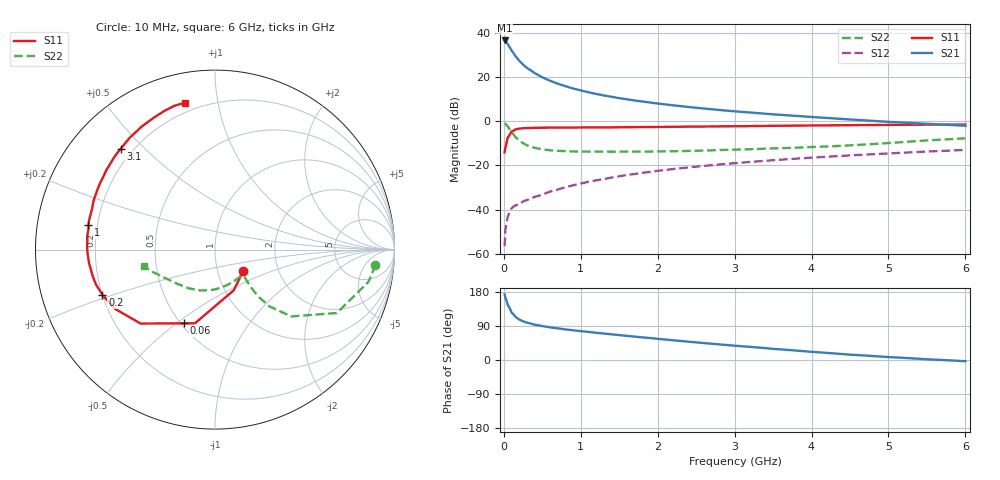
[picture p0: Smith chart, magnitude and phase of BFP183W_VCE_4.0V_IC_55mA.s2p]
! Infineon Technologies  Discrete & RF Semiconductors
! BFP183W
! VCE =  4.0 V,  IC =  55 mA
! Common Emitter S-Parameters:  Jan 2017
# GHz  S  MA  R  50
!  f  S11  S21  S12  S22
! GHz  MAG  ANG  MAG  ANG  MAG  ANG  MAG  ANG
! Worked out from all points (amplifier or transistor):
!   77 points, 10 MHz to 6 GHz, reference 50 ohm
!   highest |S21| = 36.4 dB at 10 MHz (marker M1)
!   |S21| within 3 dB of that: start of sweep to 74.58 MHz
!   unconditionally stable (mu >= 1): 458.3 MHz to 3.685 GHz
!   at 130 MHz: K = 0.49, MSG = 34.5 dB, |S12| = -38.6 dB
!   at 2.2 GHz: K = 1.12, MAG = 12.3 dB, |S12| = -21.7 dB
!   at 6 GHz: K = 0.88, MSG = 5.4 dB, |S12| = -13.0 dB
!   S11 on the Smith chart (normalised r, x): 10 MHz: 1.33, -0.33; 60 MHz: 0.52, -0.53; 200 MHz: 0.20, -0.19; 1 GHz: 0.17, +0.09; 3.1 GHz: 0.15, +0.42; 6 GHz: 0.15, +0.80
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0.01  0.1971 -36.7  66.28 173.0  0.0015 85.4  0.8982 -5.5
0.02  0.25 -65.5  64.78 164.9  0.0035 81.0  0.8739 -11.8
0.05  0.4252 -105.2  55.36 145.7  0.0068 59.8  0.7652 -27.5
0.06  0.4453 -112.7  51.8 142.6  0.0076 58.5  0.7226 -29.6
0.1  0.5847 -135.2  39.68 125.2  0.0108 55.2  0.5656 -41.2
0.15  0.6489 -149.6  29.52 114.1  0.0125 48.3  0.4382 -46.2
0.2  0.676 -158.1  23.11 106.9  0.0133 47.9  0.3639 -47.2
0.25  0.6912 -163.7  18.89 102.0  0.0154 49.6  0.3168 -46.9
0.3  0.6975 -168.0  15.93 98.5  0.0165 52.5  0.2853 -46.1
0.4  0.7056 -173.8  12.14 93.2  0.0194 57.1  0.2493 -44.5
0.5  0.7096 -177.8  9.755 89.5  0.0219 60.6  0.2306 -43.3
0.6  0.7131 178.8  8.169 86.2  0.0256 61.8  0.2199 -43.0
0.7  0.7128 176.0  7.007 83.5  0.0285 64.5  0.2128 -42.9
0.9  0.7139 171.2  5.454 78.4  0.0355 66.3  0.2068 -44.9
1  0.718 169.0  4.932 76.2  0.0389 67.7  0.2051 -46.1
1.1  0.7202 167.0  4.488 74.1  0.0428 67.3  0.2053 -47.4
1.5  0.7265 159.4  3.302 65.7  0.0568 68.5  0.2043 -55.0
2.1  0.7409 148.5  2.384 54.0  0.079 67.0  0.2078 -70.1
3.1  0.7689 133.2  1.613 36.2  0.1159 61.5  0.2291 -99.1
4.1  0.7995 119.7  1.209 20.2  0.1533 54.9  0.2634 -126.8
5.1  0.824 109.3  0.944 6.7  0.19 47.6  0.3285 -152.5
6  0.8356 101.6  0.784 -3.2  0.224 40.6  0.4089 -166.9
